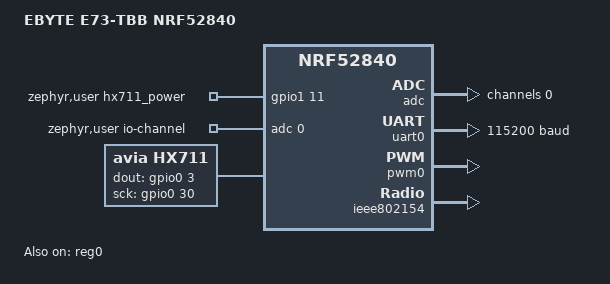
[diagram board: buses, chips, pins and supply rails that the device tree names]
/dts-v1/;
#include <nordic/nrf52840_qiaa.dtsi>
#include "ebyte_e73_custom_nrf52840-pinctrl.dtsi"
#include <zephyr/dt-bindings/input/input-event-codes.h>

/ {
	model = "EBYTE E73-TBB NRF52840";
	compatible = "ebyte,e73-tbb-nrf52840";

	chosen {
		zephyr,console = &uart0;
		zephyr,shell-uart = &uart0;
		zephyr,uart-mcumgr = &uart0;
		zephyr,bt-mon-uart = &uart0;
		zephyr,bt-c2h-uart = &uart0;
		zephyr,sram = &sram0;
		zephyr,flash = &flash0;
		zephyr,code-partition = &slot0_partition;
		zephyr,ieee802154 = &ieee802154;
		zephyr,ot-uart = &uart0;
	};
};

&adc {
	status = "okay";
};

&uicr {
	gpio-as-nreset;
};

&gpiote {
	status = "okay";
};

&gpio0 {
	status = "okay";
};

&gpio1 {
	status = "okay";
};

&uart0 {
	status = "okay";
	compatible = "nordic,nrf-uarte";
	current-speed = <115200>;
	pinctrl-0 = <&uart0_default>;
	pinctrl-1 = <&uart0_sleep>;
	pinctrl-names = "default", "sleep";
};

&pwm0 {
	status = "okay";
	pinctrl-0 = <&pwm0_default>;
	pinctrl-1 = <&pwm0_sleep>;
	pinctrl-names = "default", "sleep";
};

&flash0 {

	partitions {
		compatible = "fixed-partitions";
		#address-cells = <1>;
		#size-cells = <1>;

		boot_partition: partition@0 {
			label = "mcuboot";
			reg = <0x00000000 0xc000>;
		};
		slot0_partition: partition@c000 {
			label = "image-0";
			reg = <0x0000C000 0x64000>;
		};
		slot1_partition: partition@70000 {
			label = "image-1";
			reg = <0x00070000 0x64000>;
		};
		scratch_partition: partition@D4000 {
			label = "image-scratch";
			reg = <0x000D4000 0xa000>;
		};
		storage_partition: partition@DE000 {
			label = "storage";
			reg = <0x000DE000 0x00006000>;
		};
	};
};

&ieee802154 {
	status = "okay";
};

zephyr_udc0: &usbd {
	compatible = "nordic,nrf-usbd";
	status = "disabled";
};

&uart0 {
	status = "okay";
};

/ {
	/*
	* In some default configurations within the nRF Connect SDK,
	* e.g. on nRF52840, the chosen zephyr,entropy node is &cryptocell.
	* This devicetree overlay ensures that default is overridden wherever it
	* is set, as this application uses the RNG node for entropy exclusively.
	*/
	chosen {
		zephyr,entropy = &cryptocell;
	};
};

/ {
    zephyr,user {
	io-channels = <&adc 0>;
	hx711_power-gpios = <&gpio1 11 GPIO_ACTIVE_HIGH >;
    };
};

&adc {
    #address-cells = <1>;
    #size-cells = <0>;
    status="okay";

    channel@0 {
	reg = <0>;
	zephyr,gain = "ADC_GAIN_1_2";
	zephyr,reference = "ADC_REF_INTERNAL";
	zephyr,acquisition-time = <ADC_ACQ_TIME_DEFAULT>;
	zephyr,input-positive = <NRF_SAADC_VDDHDIV5>;
	zephyr,resolution = <12>;
	zephyr,oversampling = <4>;
    };
};

&reg0 {
	status = "okay";
};

&reg1 {
	regulator-initial-mode = <NRF5X_REG_MODE_DCDC>;
};


/{
	hx711 {
		compatible = "avia,hx711";
		status = "okay";
		label = "HX711";
		dout-gpios = <&gpio0 3 (GPIO_ACTIVE_HIGH | GPIO_PULL_UP) >;
		sck-gpios = <&gpio0 30 GPIO_ACTIVE_HIGH>;
	};
};
